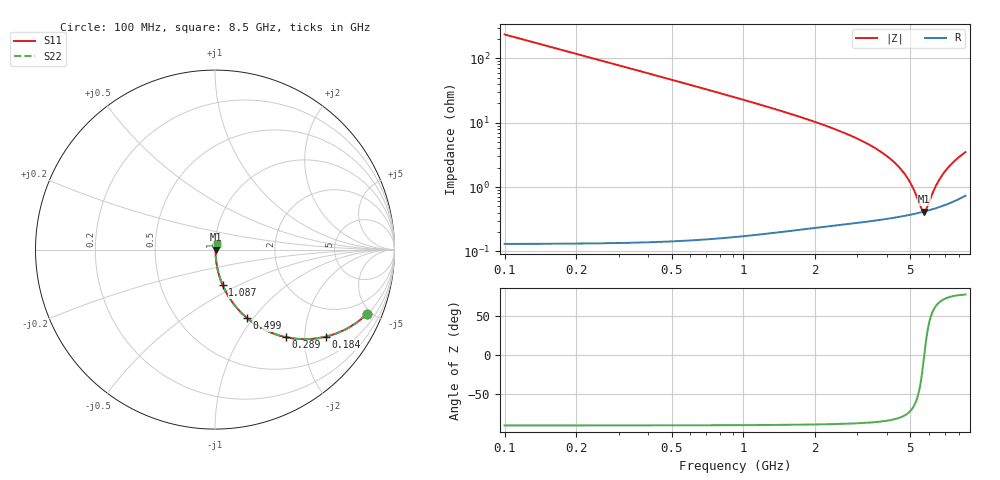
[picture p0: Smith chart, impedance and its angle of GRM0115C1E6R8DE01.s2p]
!Murata Part Number: GRM0115C1E6R8DE01
!These Parameters are Measured in Series Mode Connection
!Data Generated on Mar 30, 2021
!  o--ll--o
!Port1  Port2
!  o------o
!Operation Temp=25[degC], DC Bias Voltage=0[V]
!Freq. Start=100[MHz] Stop=9[GHz] 401[Steps]
# Hz S RI R 50
!Freq.(Hz) S11(Real) S11(Imag) S21(Real) S21(Imag) S12(Real) S12(Imag) S22(Real) S22(Imag)
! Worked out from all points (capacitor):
!   401 points, 100 MHz to 8.5 GHz, reference 50 ohm
!   read as one part in series: C = 6.8 pF near 142 MHz
!   lowest |Z| = 417 mohm at 5.707 GHz (marker M1)
!   series resonance near 5.716 GHz, so ESL is about 110 pH
!   S11 on the Smith chart (normalised r, x): 100 MHz: 1.00, -4.68; 184 MHz: 1.00, -2.54; 289 MHz: 1.00, -1.62; 499 MHz: 1.00, -0.93; 1.087 GHz: 1.00, -0.41; 8.5 GHz: 1.01, +0.07
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1e8  0.8454 -0.3612  0.1546 0.3612  0.1546 0.3612  0.8454 -0.3612
1.84e8  0.6174 -0.4855  0.3826 0.4855  0.3826 0.4855  0.6174 -0.4855
2.89e8  0.3949 -0.488  0.6051 0.488  0.6051 0.488  0.3949 -0.488
3.94e8  0.2593 -0.4371  0.7407 0.4371  0.7407 0.4371  0.2593 -0.4371
4.99e8  0.1786 -0.3815  0.8214 0.3815  0.8214 0.3815  0.1786 -0.3815
7.3e8  0.0914 -0.2857  0.9086 0.2857  0.9086 0.2857  0.0914 -0.2857
1.087e9  0.0427 -0.1979  0.9573 0.1979  0.9573 0.1979  0.0427 -0.1979
1.507e9  0.0222 -0.1405  0.9778 0.1405  0.9778 0.1405  0.0222 -0.1405
2.914e9  0.0062 -0.0587  0.9938 0.0587  0.9938 0.0587  0.0062 -0.0587
3.733e9  0.00436 -0.0356  0.9956 0.0356  0.9956 0.0356  0.00436 -0.0356
4.3e9  0.00389 -0.0234  0.9961 0.0234  0.9961 0.0234  0.00389 -0.0234
4.909e9  0.00381 -0.0124  0.9962 0.0124  0.9962 0.0124  0.00381 -0.0124
5.182e9  0.00388 -0.008  0.9961 0.008  0.9961 0.008  0.00388 -0.008
5.56e9  0.00405 -0.00225  0.9959 0.00225  0.9959 0.00225  0.00405 -0.00225
5.707e9  0.00415 -0.000123  0.9959 0.000123  0.9959 0.000123  0.00415 -0.000123
5.833e9  0.00424 0.00166  0.9958 -0.00166  0.9958 -0.00166  0.00424 0.00166
6.211e9  0.00457 0.00681  0.9954 -0.00681  0.9954 -0.00681  0.00457 0.00681
6.463e9  0.00484 0.0101  0.9952 -0.0101  0.9952 -0.0101  0.00484 0.0101
6.757e9  0.0052 0.0138  0.9948 -0.0138  0.9948 -0.0138  0.0052 0.0138
7.114e9  0.0057 0.0181  0.9943 -0.0181  0.9943 -0.0181  0.0057 0.0181
7.744e9  0.00677 0.0254  0.9932 -0.0254  0.9932 -0.0254  0.00677 0.0254
8.5e9  0.0084 0.0335  0.9916 -0.0335  0.9916 -0.0335  0.0084 0.0335
